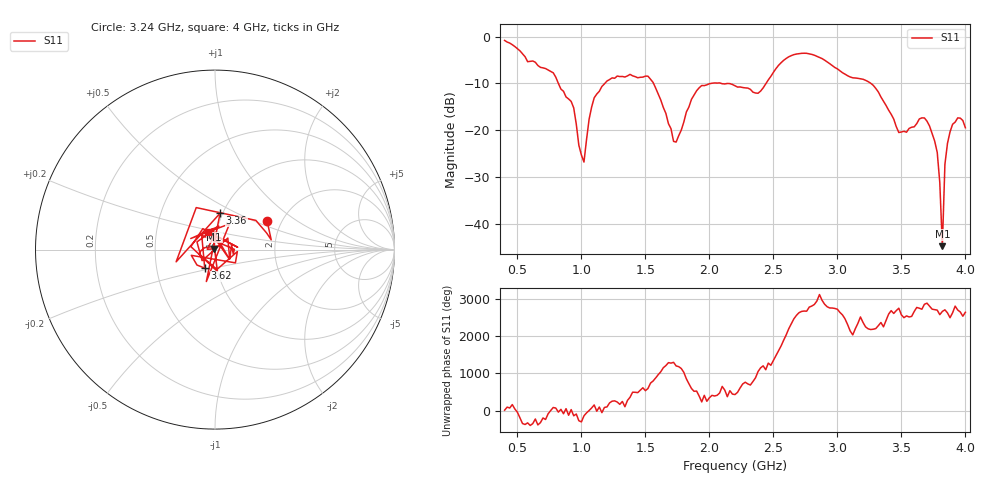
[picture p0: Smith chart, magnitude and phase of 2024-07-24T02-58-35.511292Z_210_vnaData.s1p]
!Created with skrf (http://scikit-rf.org).
# Hz S RI R 50.0
!freq ReS11 ImS11
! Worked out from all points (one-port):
!   181 points, 400 MHz to 4 GHz, reference 50 ohm
!   lowest |S11| = -44.7 dB at 3.82 GHz (marker M1), VSWR 1.01, Z = 49.6 + j0.412 ohm
!   |S11| at or under -10 dB: 820 MHz to 1.183 GHz (362.8 MHz wide, 36.2 % of centre); 1.564 GHz to 2.011 GHz (447.2 MHz wide, 25 % of centre); 3.262 GHz to end of sweep (the widest 3 of 4)
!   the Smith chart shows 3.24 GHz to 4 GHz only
!   S11 on the Smith chart (normalised r, x): 3.24 GHz: 1.68, +0.60; 3.36 GHz: 0.97, +0.41; 3.62 GHz: 0.87, -0.18; 4 GHz: 0.91, +0.18
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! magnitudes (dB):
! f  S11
! 400 MHz  -0.8
! 860 MHz  -11.7
! 940 MHz  -15.2
! 1.02 GHz  -26.8
! 1.06 GHz  -17.7
! 1.1 GHz  -13.1
! 1.3 GHz  -8.5
! 1.52 GHz  -8.4
! 1.72 GHz  -22.4
! 1.76 GHz  -21.2
! 1.92 GHz  -10.9
! 2.2 GHz  -10.5
! 2.38 GHz  -12.1
! 2.66 GHz  -3.9
! 3.1 GHz  -8.6
! 3.24 GHz  -9.6
! 3.36 GHz  -13.8
! 3.48 GHz  -20.5
! 3.56 GHz  -19.6
! 3.62 GHz  -18.6
! 3.7 GHz  -18.0
! 3.78 GHz  -24.7
! 3.8 GHz  -31.1
! 3.82 GHz  -44.7
! 3.84 GHz  -27.3
! 3.86 GHz  -22.8
! 3.94 GHz  -17.4
! 4 GHz  -19.5
